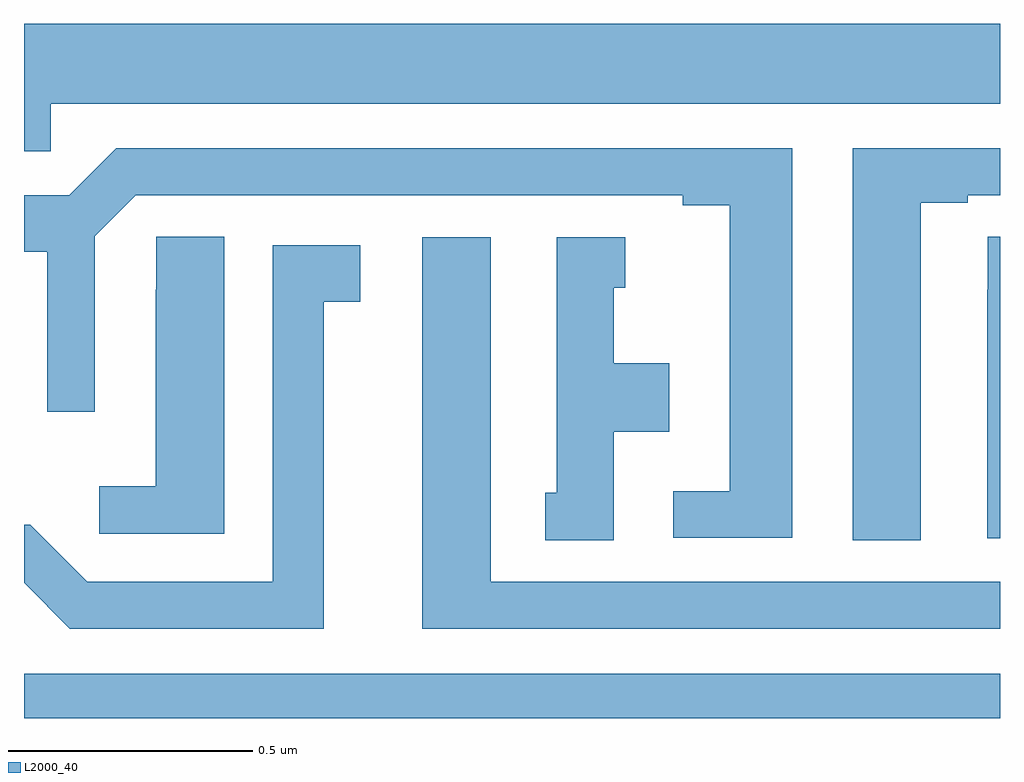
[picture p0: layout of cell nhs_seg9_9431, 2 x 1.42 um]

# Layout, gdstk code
import gdstk
lib = gdstk.Library(unit=1e-6, precision=1e-09)
def R(c, l, rs):  # rectangles x0, y0, x1, y1
    for r in rs: c.add(gdstk.rectangle(r[:2], r[2:], *l))
def P(c, l, *ps):  # polygons
    for p in ps: c.add(gdstk.Polygon(p, *l))
L2000_40 = (2000, 40)

nhs_seg9_9431 = lib.new_cell('nhs_seg9_9431')
R(nhs_seg9_9431, L2000_40, [(230,1188.5,232,1188.592)])
P(nhs_seg9_9431, L2000_40, [(230.055,1189.76),(232,1189.76),(232,1189.924),(230,1189.924),(230,1189.662),(230.055,1189.662)],
  [(231.574,1189.668),(230.189,1189.668),(230.093,1189.572),(230,1189.572),(230,1189.456),(230.048,1189.456),(230.048,1189.128),(230.145,1189.128),(230.145,1189.488),(230.229,1189.572),(231.35,1189.572),(231.35,1189.552),(231.446,1189.552),(231.446,1188.966),(231.33,1188.966),(231.33,1188.87),(231.574,1188.87)],
  [(231.838,1189.557),(231.934,1189.557),(231.934,1189.572),(232,1189.572),(232,1189.668),(231.698,1189.668),(231.698,1188.865),(231.838,1188.865)],
  [(230.41,1189.487),(230.271,1189.487),(230.271,1189.379),(230.27,1189.379),(230.27,1188.976),(230.154,1188.976),(230.154,1188.879),(230.41,1188.879)],
  [(232,1189.487),(231.975,1189.487),(231.975,1189.379),(231.974,1189.379),(231.974,1188.869),(232,1188.869)],
  [(231.208,1189.088),(231.322,1189.088),(231.322,1189.228),(231.208,1189.228),(231.208,1189.383),(231.232,1189.383),(231.232,1189.486),(231.092,1189.486),(231.092,1188.963),(231.068,1188.963),(231.068,1188.865),(231.208,1188.865)],
  [(232,1188.78),(230.956,1188.78),(230.956,1189.486),(230.816,1189.486),(230.816,1188.684),(232,1188.684)],
  [(230.614,1189.354),(230.689,1189.354),(230.689,1189.47),(230.51,1189.47),(230.51,1188.78),(230.13,1188.78),(230.013,1188.897),(230,1188.897),(230,1188.778),(230.094,1188.684),(230.614,1188.684)])

lib.write_gds('nhs_seg9_9431.gds')
